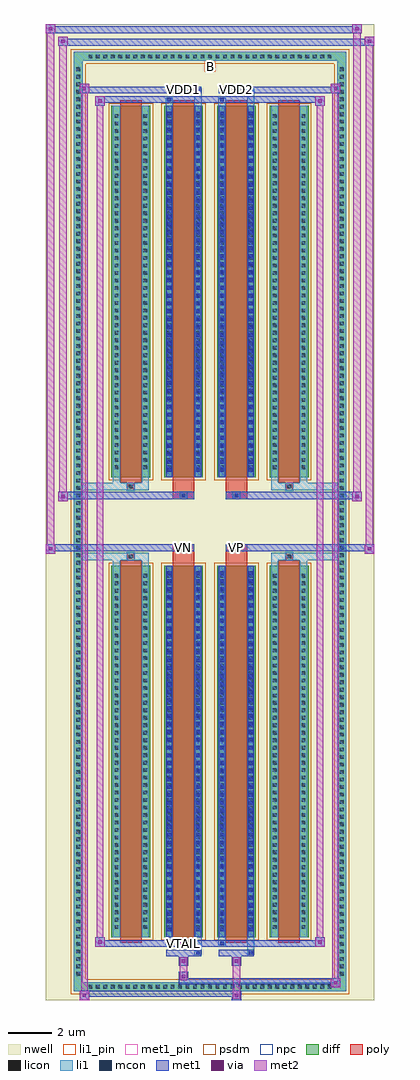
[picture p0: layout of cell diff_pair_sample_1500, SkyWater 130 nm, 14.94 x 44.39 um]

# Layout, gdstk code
import gdstk
lib = gdstk.Library(unit=1e-6, precision=5e-09)
def R(c, l, rs):  # rectangles x0, y0, x1, y1
    for r in rs: c.add(gdstk.rectangle(r[:2], r[2:], *l))
def A(c, l, x, y, w, h, nx, ny, dx, dy):  # array of equal rectangles
    R(c, l, [(x+i*dx, y+j*dy, x+i*dx+w, y+j*dy+h) for i in range(nx) for j in range(ny)])
def P(c, l, *ps):  # polygons
    for p in ps: c.add(gdstk.Polygon(p, *l))
nwell = (64, 20)
diff = (65, 20)
poly = (66, 20)
licon = (66, 44)
li1_pin = (67, 16)
li1 = (67, 20)
mcon = (67, 44)
met1_pin = (68, 16)
met1 = (68, 20)
via = (68, 44)
met2 = (69, 20)
psdm = (94, 20)
npc = (95, 20)

diff_pair_sample_1500 = lib.new_cell('diff_pair_sample_1500')
R(diff_pair_sample_1500, nwell, [(-7.47,-21.76,7.47,22.63), (-4.79,-19.95,-0.01,-0.825), (0.01,-19.95,4.79,-0.825), (-4.79,0.825,-0.01,19.95), (0.01,0.825,4.79,19.95)])
A(diff_pair_sample_1500, diff, -5.645, -21.36, 0.41, 0.41, 33, 2, 0.34, 42.31)
A(diff_pair_sample_1500, diff, -6.2, -20.775, 0.41, 0.41, 1, 122, 0, 0.34)
A(diff_pair_sample_1500, diff, 5.79, -20.775, 0.41, 0.41, 1, 122, 0, 0.34)
A(diff_pair_sample_1500, diff, -4.48, -18.905, 1.76, 16.9, 4, 2, 2.4, 20.91)
R(diff_pair_sample_1500, diff, [(-5.645,-21.36,5.645,-20.95), (-6.2,-20.775,-5.79,20.775), (5.79,-20.775,6.2,20.775), (-5.645,20.95,5.645,21.36)])
P(diff_pair_sample_1500, diff, [(6.2,21.36),(-6.2,21.36),(-6.2,-20.95),(-5.79,-20.95),(-5.79,20.95),(5.79,20.95),(5.79,-20.95),(-5.79,-20.95),(-6.2,-20.95),(-6.2,-21.36),(6.2,-21.36)])
A(diff_pair_sample_1500, poly, -4.09, -19.155, 0.98, 17.4, 4, 2, 2.4, 20.91)
R(diff_pair_sample_1500, poly, [(-3.765,-1.755,-3.435,-1.425), (-3.765,-1.755,-3.435,-1.425), (-1.69,-1.755,-0.71,-1.355), (0.71,-1.755,1.69,-1.355), (3.435,-1.755,3.765,-1.425), (3.435,-1.755,3.765,-1.425), (-1.69,-1.355,-0.71,-1.025), (-1.365,-1.355,-1.035,-1.025), (0.71,-1.355,1.69,-1.025), (1.035,-1.355,1.365,-1.025), (-1.69,1.025,-0.71,1.355), (-1.365,1.025,-1.035,1.355), (0.71,1.025,1.69,1.355), (1.035,1.025,1.365,1.355), (-1.69,1.355,-0.71,1.755), (0.71,1.355,1.69,1.755), (-3.765,1.425,-3.435,1.755), (-3.765,1.425,-3.435,1.755), (3.435,1.425,3.765,1.755), (3.435,1.425,3.765,1.755)])
A(diff_pair_sample_1500, licon, -5.525, -21.24, 0.17, 0.17, 33, 2, 0.34, 42.31)
A(diff_pair_sample_1500, licon, -6.08, -20.655, 0.17, 0.17, 1, 122, 0, 0.34)
A(diff_pair_sample_1500, licon, 5.91, -20.655, 0.17, 0.17, 1, 122, 0, 0.34)
A(diff_pair_sample_1500, licon, -4.34, -18.53, 0.17, 0.17, 1, 48, 0, 0.34)
A(diff_pair_sample_1500, licon, -3.03, -18.53, 0.17, 0.17, 1, 48, 0, 0.34)
A(diff_pair_sample_1500, licon, -1.94, -18.53, 0.17, 0.17, 1, 48, 0, 0.34)
A(diff_pair_sample_1500, licon, -0.63, -18.53, 0.17, 0.17, 1, 48, 0, 0.34)
A(diff_pair_sample_1500, licon, 0.46, -18.53, 0.17, 0.17, 1, 48, 0, 0.34)
A(diff_pair_sample_1500, licon, 1.77, -18.53, 0.17, 0.17, 1, 48, 0, 0.34)
A(diff_pair_sample_1500, licon, 2.86, -18.53, 0.17, 0.17, 1, 48, 0, 0.34)
A(diff_pair_sample_1500, licon, 4.17, -18.53, 0.17, 0.17, 1, 48, 0, 0.34)
A(diff_pair_sample_1500, licon, -4.34, 2.38, 0.17, 0.17, 1, 48, 0, 0.34)
A(diff_pair_sample_1500, licon, -3.03, 2.38, 0.17, 0.17, 1, 48, 0, 0.34)
A(diff_pair_sample_1500, licon, -1.94, 2.38, 0.17, 0.17, 1, 48, 0, 0.34)
A(diff_pair_sample_1500, licon, -0.63, 2.38, 0.17, 0.17, 1, 48, 0, 0.34)
A(diff_pair_sample_1500, licon, 0.46, 2.38, 0.17, 0.17, 1, 48, 0, 0.34)
A(diff_pair_sample_1500, licon, 1.77, 2.38, 0.17, 0.17, 1, 48, 0, 0.34)
A(diff_pair_sample_1500, licon, 2.86, 2.38, 0.17, 0.17, 1, 48, 0, 0.34)
A(diff_pair_sample_1500, licon, 4.17, 2.38, 0.17, 0.17, 1, 48, 0, 0.34)
R(diff_pair_sample_1500, licon, [(-3.685,-1.675,-3.515,-1.505), (3.515,-1.675,3.685,-1.505), (-1.285,-1.275,-1.115,-1.105), (1.115,-1.275,1.285,-1.105), (-1.285,1.105,-1.115,1.275), (1.115,1.105,1.285,1.275), (-3.685,1.505,-3.515,1.675), (3.515,1.505,3.685,1.675)])
R(diff_pair_sample_1500, li1_pin, [(-0.25,20.45,0.25,20.95)])
A(diff_pair_sample_1500, li1, -5.605, -21.32, 0.33, 0.33, 33, 2, 0.34, 42.31)
A(diff_pair_sample_1500, li1, -6.16, -20.735, 0.33, 0.33, 1, 122, 0, 0.34)
A(diff_pair_sample_1500, li1, 5.83, -20.735, 0.33, 0.33, 1, 122, 0, 0.34)
A(diff_pair_sample_1500, li1, -1.94, -18.64, 0.17, 0.17, 1, 46, 0, 0.36)
A(diff_pair_sample_1500, li1, -0.63, -18.64, 0.17, 0.17, 1, 46, 0, 0.36)
A(diff_pair_sample_1500, li1, 0.46, -18.64, 0.17, 0.17, 1, 46, 0, 0.36)
A(diff_pair_sample_1500, li1, 1.77, -18.64, 0.17, 0.17, 1, 46, 0, 0.36)
A(diff_pair_sample_1500, li1, -4.42, -18.61, 0.33, 0.33, 1, 48, 0, 0.34)
A(diff_pair_sample_1500, li1, -3.11, -18.61, 0.33, 0.33, 1, 48, 0, 0.34)
A(diff_pair_sample_1500, li1, -2.02, -18.61, 0.33, 0.33, 1, 48, 0, 0.34)
A(diff_pair_sample_1500, li1, -0.71, -18.61, 0.33, 0.33, 1, 48, 0, 0.34)
A(diff_pair_sample_1500, li1, 0.38, -18.61, 0.33, 0.33, 1, 48, 0, 0.34)
A(diff_pair_sample_1500, li1, 1.69, -18.61, 0.33, 0.33, 1, 48, 0, 0.34)
A(diff_pair_sample_1500, li1, 2.78, -18.61, 0.33, 0.33, 1, 48, 0, 0.34)
A(diff_pair_sample_1500, li1, 4.09, -18.61, 0.33, 0.33, 1, 48, 0, 0.34)
A(diff_pair_sample_1500, li1, -1.94, 2.27, 0.17, 0.17, 1, 46, 0, 0.36)
A(diff_pair_sample_1500, li1, -0.63, 2.27, 0.17, 0.17, 1, 46, 0, 0.36)
A(diff_pair_sample_1500, li1, 0.46, 2.27, 0.17, 0.17, 1, 46, 0, 0.36)
A(diff_pair_sample_1500, li1, 1.77, 2.27, 0.17, 0.17, 1, 46, 0, 0.36)
A(diff_pair_sample_1500, li1, -4.42, 2.3, 0.33, 0.33, 1, 48, 0, 0.34)
A(diff_pair_sample_1500, li1, -3.11, 2.3, 0.33, 0.33, 1, 48, 0, 0.34)
A(diff_pair_sample_1500, li1, -2.02, 2.3, 0.33, 0.33, 1, 48, 0, 0.34)
A(diff_pair_sample_1500, li1, -0.71, 2.3, 0.33, 0.33, 1, 48, 0, 0.34)
A(diff_pair_sample_1500, li1, 0.38, 2.3, 0.33, 0.33, 1, 48, 0, 0.34)
A(diff_pair_sample_1500, li1, 1.69, 2.3, 0.33, 0.33, 1, 48, 0, 0.34)
A(diff_pair_sample_1500, li1, 2.78, 2.3, 0.33, 0.33, 1, 48, 0, 0.34)
A(diff_pair_sample_1500, li1, 4.09, 2.3, 0.33, 0.33, 1, 48, 0, 0.34)
R(diff_pair_sample_1500, li1, [(-6.2,-21.36,-5.79,-20.95), (-6.2,-21.36,-5.79,-20.95), (-5.79,-21.36,5.79,-20.95), (5.79,-21.36,6.2,-20.95), (5.79,-21.36,6.2,-20.95), (-6.2,-20.95,-5.79,20.95), (5.79,-20.95,6.2,20.95), (-0.71,-19.71,-0.38,-18.905), (-0.63,-19.71,-0.46,-19.54), (1.69,-19.71,2.02,-18.905), (1.77,-19.71,1.94,-19.54), (-2.02,-19.28,-1.69,-18.905), (-1.94,-19.28,-1.77,-19.11), (0.38,-19.28,0.71,-18.905), (0.46,-19.28,0.63,-19.11), (-4.42,-18.905,-4.09,-2.005), (-3.11,-18.905,-2.78,-2.005), (-2.02,-18.905,-1.69,-2.005), (-0.71,-18.905,-0.38,-2.005), (0.38,-18.905,0.71,-2.005), (1.69,-18.905,2.02,-2.005), (2.78,-18.905,3.11,-2.005), (4.09,-18.905,4.42,-2.005), (-1.94,-18.64,-1.77,-2.27), (-0.63,-18.64,-0.46,-2.27), (0.46,-18.64,0.63,-2.27), (1.77,-18.64,1.94,-2.27), (-4.42,-2.005,-4.09,-1.425), (-3.11,-2.005,-2.78,-1.425), (2.78,-2.005,3.11,-1.425), (4.09,-2.005,4.42,-1.425), (-6.2,-1.755,-3.765,-1.425), (-4.42,-1.755,-3.765,-1.425), (-3.765,-1.755,-3.435,-1.425), (-3.435,-1.755,-2.78,-1.425), (2.78,-1.755,3.435,-1.425), (3.435,-1.755,3.765,-1.425), (3.435,-1.755,6.2,-1.425), (3.765,-1.755,4.42,-1.425), (-1.365,-1.355,-1.035,-1.025), (1.035,-1.355,1.365,-1.025), (-1.365,1.025,-1.035,1.355), (1.035,1.025,1.365,1.355), (-6.2,1.425,-3.765,1.755), (-4.42,1.425,-3.765,1.755), (-4.42,1.425,-4.09,2.005), (-3.765,1.425,-3.435,1.755), (-3.435,1.425,-2.78,1.755), (-3.11,1.425,-2.78,2.005), (2.78,1.425,3.435,1.755), (2.78,1.425,3.11,2.005), (3.435,1.425,3.765,1.755), (3.435,1.425,6.2,1.755), (3.765,1.425,4.42,1.755), (4.09,1.425,4.42,2.005), (-4.42,2.005,-4.09,18.905), (-3.11,2.005,-2.78,18.905), (-2.02,2.005,-1.69,18.905), (-0.71,2.005,-0.38,18.905), (0.38,2.005,0.71,18.905), (1.69,2.005,2.02,18.905), (2.78,2.005,3.11,18.905), (4.09,2.005,4.42,18.905), (-1.94,2.27,-1.77,18.64), (-0.63,2.27,-0.46,18.64), (0.46,2.27,0.63,18.64), (1.77,2.27,1.94,18.64), (-2.02,18.905,-1.69,19.28), (-0.71,18.905,-0.38,19.71), (0.38,18.905,0.71,19.28), (1.69,18.905,2.02,19.71), (-1.94,19.11,-1.77,19.28), (0.46,19.11,0.63,19.28), (-0.63,19.54,-0.46,19.71), (1.77,19.54,1.94,19.71), (-6.2,20.95,-5.79,21.36), (-6.2,20.95,-5.79,21.36), (-5.79,20.95,5.79,21.36), (5.79,20.95,6.2,21.36), (5.79,20.95,6.2,21.36)])
A(diff_pair_sample_1500, mcon, -1.94, -18.64, 0.17, 0.17, 1, 46, 0, 0.36)
A(diff_pair_sample_1500, mcon, -0.63, -18.64, 0.17, 0.17, 1, 46, 0, 0.36)
A(diff_pair_sample_1500, mcon, 0.46, -18.64, 0.17, 0.17, 1, 46, 0, 0.36)
A(diff_pair_sample_1500, mcon, 1.77, -18.64, 0.17, 0.17, 1, 46, 0, 0.36)
A(diff_pair_sample_1500, mcon, -1.94, 2.27, 0.17, 0.17, 1, 46, 0, 0.36)
A(diff_pair_sample_1500, mcon, -0.63, 2.27, 0.17, 0.17, 1, 46, 0, 0.36)
A(diff_pair_sample_1500, mcon, 0.46, 2.27, 0.17, 0.17, 1, 46, 0, 0.36)
A(diff_pair_sample_1500, mcon, 1.77, 2.27, 0.17, 0.17, 1, 46, 0, 0.36)
R(diff_pair_sample_1500, mcon, [(-0.63,-19.71,-0.46,-19.54), (1.77,-19.71,1.94,-19.54), (-1.94,-19.28,-1.77,-19.11), (0.46,-19.28,0.63,-19.11), (-1.285,-1.275,-1.115,-1.105), (1.115,-1.275,1.285,-1.105), (-1.285,1.105,-1.115,1.275), (1.115,1.105,1.285,1.275), (-1.94,19.11,-1.77,19.28), (0.46,19.11,0.63,19.28), (-0.63,19.54,-0.46,19.71), (1.77,19.54,1.94,19.71)])
R(diff_pair_sample_1500, met1_pin, [(-1.335,-19.32,-1.065,-19.05), (-1.335,-1.295,-1.065,-1.025), (1.065,-1.295,1.335,-1.025), (-1.335,19.5,-1.065,19.77), (1.065,19.5,1.335,19.77)])
A(diff_pair_sample_1500, met1, -2, -18.7, 0.29, 0.29, 1, 46, 0, 0.36)
A(diff_pair_sample_1500, met1, -0.69, -18.7, 0.29, 0.29, 1, 46, 0, 0.36)
A(diff_pair_sample_1500, met1, 0.4, -18.7, 0.29, 0.29, 1, 46, 0, 0.36)
A(diff_pair_sample_1500, met1, 1.71, -18.7, 0.29, 0.29, 1, 46, 0, 0.36)
A(diff_pair_sample_1500, met1, -2, 2.21, 0.29, 0.29, 1, 46, 0, 0.36)
A(diff_pair_sample_1500, met1, -0.69, 2.21, 0.29, 0.29, 1, 46, 0, 0.36)
A(diff_pair_sample_1500, met1, 0.4, 2.21, 0.29, 0.29, 1, 46, 0, 0.36)
A(diff_pair_sample_1500, met1, 1.71, 2.21, 0.29, 0.29, 1, 46, 0, 0.36)
R(diff_pair_sample_1500, met1, [(-5.93,-21.76,-5.5,-21.33), (0.985,-21.76,1.415,-21.33), (-5.93,-21.62,1.415,-21.33), (5.5,-21.19,5.93,-20.76), (-1.415,-21.05,5.93,-20.76), (-1.415,-20.91,-0.985,-20.48), (-1.415,-20.2,-0.985,-19.77), (0.985,-20.2,1.415,-19.77), (-2,-19.77,-0.4,-19.48), (-0.69,-19.77,-0.4,-19.48), (0.4,-19.77,2,-19.48), (1.71,-19.77,2,-19.48), (-5.22,-19.34,-4.79,-18.91), (-5.22,-19.34,-2,-19.05), (-2,-19.34,-1.71,-19.05), (-2,-19.34,-0.4,-19.05), (-0.4,-19.34,0.4,-19.05), (0.4,-19.34,0.69,-19.05), (0.4,-19.34,2,-19.05), (2,-19.34,5.22,-19.05), (4.79,-19.34,5.22,-18.91), (-2,-18.905,-1.71,-2.005), (-0.69,-18.905,-0.4,-2.005), (0.4,-18.905,0.69,-2.005), (1.71,-18.905,2,-2.005), (-7.47,-1.455,-7.04,-1.025), (7.04,-1.455,7.47,-1.025), (-7.47,-1.355,-0.71,-1.025), (-1.69,-1.355,-0.71,-1.025), (0.71,-1.355,1.69,-1.025), (0.71,-1.355,7.47,-1.025), (-1.345,-1.335,-1.055,-1.045), (1.055,-1.335,1.345,-1.045), (-6.9,0.925,-6.47,1.355), (6.47,0.925,6.9,1.355), (-6.9,1.025,-1.69,1.355), (-1.69,1.025,-0.71,1.355), (0.71,1.025,1.69,1.355), (1.69,1.025,6.9,1.355), (-1.345,1.045,-1.055,1.335), (1.055,1.045,1.345,1.335), (-2,2.005,-1.71,18.905), (-0.69,2.005,-0.4,18.905), (0.4,2.005,0.69,18.905), (1.71,2.005,2,18.905), (-5.22,18.91,-4.79,19.34), (4.79,18.91,5.22,19.34), (-5.22,19.05,-2,19.34), (-2,19.05,-1.71,19.34), (-2,19.05,-0.4,19.34), (-0.4,19.05,0.4,19.34), (0.4,19.05,0.69,19.34), (0.4,19.05,2,19.34), (2,19.05,5.22,19.34), (-5.93,19.48,-5.5,19.91), (-5.93,19.48,-2,19.77), (-2,19.48,-0.4,19.77), (-0.69,19.48,-0.4,19.77), (0.4,19.48,2,19.77), (1.71,19.48,2,19.77), (2,19.48,5.93,19.77), (5.5,19.48,5.93,19.91), (-6.9,21.63,-6.47,22.06), (-6.9,21.63,-4.79,21.96), (-4.79,21.63,4.79,21.96), (4.79,21.63,7.47,21.96), (7.04,21.63,7.47,22.06), (-7.47,22.2,-7.04,22.63), (-7.47,22.2,-4.79,22.53), (-4.79,22.2,4.79,22.53), (4.79,22.2,6.9,22.53), (6.47,22.2,6.9,22.63)])
R(diff_pair_sample_1500, via, [(-5.79,-21.62,-5.64,-21.47), (1.125,-21.62,1.275,-21.47), (5.64,-21.05,5.79,-20.9), (-1.275,-20.77,-1.125,-20.62), (-1.275,-20.06,-1.125,-19.91), (1.125,-20.06,1.275,-19.91), (-5.08,-19.2,-4.93,-19.05), (4.93,-19.2,5.08,-19.05), (-7.33,-1.315,-7.18,-1.165), (7.18,-1.315,7.33,-1.165), (-6.76,1.065,-6.61,1.215), (6.61,1.065,6.76,1.215), (-5.08,19.05,-4.93,19.2), (4.93,19.05,5.08,19.2), (-5.79,19.62,-5.64,19.77), (5.64,19.62,5.79,19.77), (-6.76,21.77,-6.61,21.92), (7.18,21.77,7.33,21.92), (-7.33,22.34,-7.18,22.49), (6.61,22.34,6.76,22.49)])
R(diff_pair_sample_1500, met2, [(-5.93,-21.76,-5.5,-21.33), (-5.86,-21.76,-5.57,19.91), (-5.57,-21.76,-5.5,-21.33), (-5.88,-21.71,-5.55,-21.38), (1.035,-21.71,1.365,-21.38), (1.035,-21.38,1.365,-20.15), (5.5,-21.19,5.93,-20.76), (5.57,-21.19,5.86,19.91), (5.86,-21.19,5.93,-20.76), (5.55,-21.14,5.88,-20.81), (-1.365,-20.86,-1.035,-20.53), (-1.365,-20.53,-1.035,-20.15), (-1.365,-20.15,-1.035,-19.82), (1.035,-20.15,1.365,-19.82), (-5.22,-19.34,-4.79,-18.91), (-5.15,-19.34,-4.86,19.34), (-4.86,-19.34,-4.79,-18.91), (4.79,-19.34,5.22,-18.91), (4.86,-19.34,5.15,19.34), (5.15,-19.34,5.22,-18.91), (-5.17,-19.29,-4.84,-18.96), (4.84,-19.29,5.17,-18.96), (-7.47,-1.455,-7.04,-1.025), (-7.42,-1.455,-7.09,22.63), (-7.09,-1.455,-7.04,-1.025), (7.04,-1.455,7.47,-1.025), (7.09,-1.455,7.42,22.06), (7.42,-1.455,7.47,-1.025), (-7.42,-1.405,-7.09,-1.075), (7.09,-1.405,7.42,-1.075), (-6.9,0.925,-6.47,1.355), (-6.85,0.925,-6.52,22.06), (-6.52,0.925,-6.47,1.355), (6.47,0.925,6.9,1.355), (6.52,0.925,6.85,22.63), (6.85,0.925,6.9,1.355), (-6.85,0.975,-6.52,1.305), (6.52,0.975,6.85,1.305), (-5.22,18.91,-4.79,19.34), (-4.86,18.91,-4.79,19.34), (4.79,18.91,5.22,19.34), (5.15,18.91,5.22,19.34), (-5.17,18.96,-4.84,19.29), (4.84,18.96,5.17,19.29), (-5.93,19.48,-5.5,19.91), (-5.57,19.48,-5.5,19.91), (5.5,19.48,5.93,19.91), (5.86,19.48,5.93,19.91), (-5.88,19.53,-5.55,19.86), (5.55,19.53,5.88,19.86), (-6.9,21.63,-6.47,22.06), (-6.52,21.63,-6.47,22.06), (7.04,21.63,7.47,22.06), (7.42,21.63,7.47,22.06), (-6.85,21.68,-6.52,22.01), (7.09,21.68,7.42,22.01), (-7.47,22.2,-7.04,22.63), (-7.09,22.2,-7.04,22.63), (6.47,22.2,6.9,22.63), (6.85,22.2,6.9,22.63), (-7.42,22.25,-7.09,22.58), (6.52,22.25,6.85,22.58)])
A(diff_pair_sample_1500, psdm, -4.61, -19.035, 2.02, 17.16, 4, 2, 2.4, 20.91)
P(diff_pair_sample_1500, psdm, [(6.33,21.49),(-6.33,21.49),(-6.33,-20.82),(-5.66,-20.82),(-5.66,20.82),(5.66,20.82),(5.66,-20.82),(-5.66,-20.82),(-6.33,-20.82),(-6.33,-21.49),(6.33,-21.49)])
R(diff_pair_sample_1500, npc, [(-3.785,-1.775,-3.415,-1.405), (3.415,-1.775,3.785,-1.405), (-1.385,-1.375,-1.015,-1.005), (1.015,-1.375,1.385,-1.005), (-1.385,1.005,-1.015,1.375), (1.015,1.005,1.385,1.375), (-3.785,1.405,-3.415,1.775), (3.415,1.405,3.785,1.775)])
diff_pair_sample_1500.add(gdstk.Label('VTAIL', (-1.2,-19.185), layer=68, texttype=5))
diff_pair_sample_1500.add(gdstk.Label('VN', (-1.2,-1.16), layer=68, texttype=5))
diff_pair_sample_1500.add(gdstk.Label('VP', (1.2,-1.16), layer=68, texttype=5))
diff_pair_sample_1500.add(gdstk.Label('B', (0,20.7), layer=67, texttype=5))
diff_pair_sample_1500.add(gdstk.Label('VDD2', (1.2,19.635), layer=68, texttype=5))
diff_pair_sample_1500.add(gdstk.Label('VDD1', (-1.2,19.635), layer=68, texttype=5))

lib.write_gds('diff_pair_sample_1500.gds')
